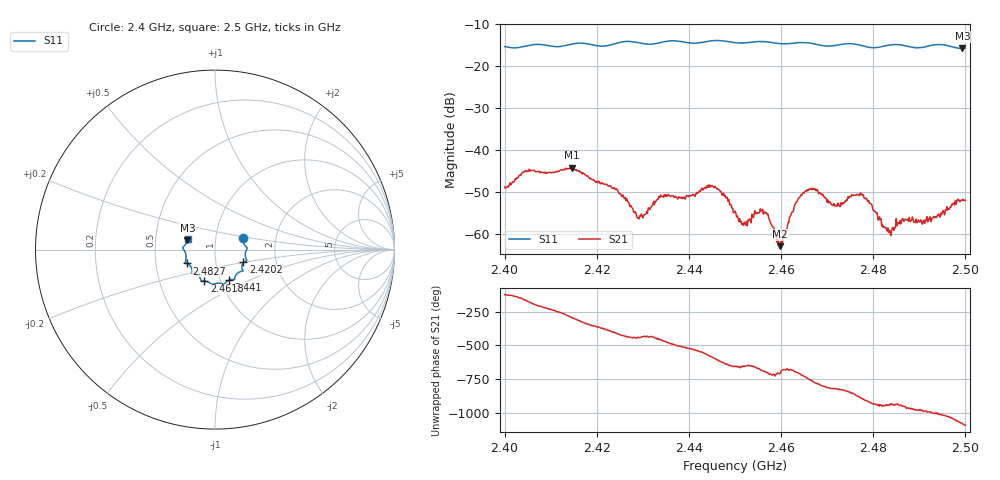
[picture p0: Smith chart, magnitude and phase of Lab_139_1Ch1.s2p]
# Hz S RI R 50
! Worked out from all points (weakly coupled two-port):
!   601 points, 2.4 GHz to 2.5 GHz, reference 50 ohm
!   highest |S21| = -44.27 dB at 2.4147 GHz (marker M1); lowest = -63.0 dB at 2.4598 GHz (marker M2)
!   lowest |S11| = -15.8 dB at 2.4993 GHz (marker M3), VSWR 1.39, Z = 36.5 + j3.83 ohm
!   |S11| at or under -10 dB: start of sweep to end of sweep
!   S12 and S22 are empty: the file has one direction only
!   S11 on the Smith chart (normalised r, x): 2.4 GHz: 1.36, +0.18; 2.4202 GHz: 1.36, -0.20; 2.441 GHz: 1.10, -0.39; 2.4618 GHz: 0.84, -0.30; 2.4827 GHz: 0.72, -0.12; 2.5 GHz: 0.73, +0.09
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2.4e9  0.1584 0.0629  -0.002 -0.00299  0 0  0 0
2.404833e9  0.1736 0.0148  -0.00549 -0.000942  0 0  0 0
2.414667e9  0.1746 -0.054  0.00243 0.00561  0 0  0 0
2.416667e9  0.1771 -0.0611  0.0044 0.00306  0 0  0 0
2.420167e9  0.1586 -0.0712  0.00401 -0.000339  0 0  0 0
2.424167e9  0.1517 -0.1078  0.00227 -0.00248  0 0  0 0
2.429e9  0.1458 -0.1213  0.000221 -0.00152  0 0  0 0
2.433333e9  0.1115 -0.1507  6.07e-05 -0.00257  0 0  0 0
2.441e9  0.0787 -0.1696  -0.00288 -0.000388  0 0  0 0
2.4455e9  0.051 -0.1942  -0.00198 0.0029  0 0  0 0
2.45e9  0.0286 -0.1875  0.000765 0.00169  0 0  0 0
2.452167e9  0.00656 -0.1883  0.000566 0.0012  0 0  0 0
2.456333e9  -0.0173 -0.1945  0.0016 0.000839  0 0  0 0
2.459833e9  -0.0395 -0.18  0.000686 0.000168  0 0  0 0
2.461833e9  -0.0588 -0.1754  0.00123 0.000956  0 0  0 0
2.466667e9  -0.0788 -0.1685  0.00257 -0.00232  0 0  0 0
2.471667e9  -0.1103 -0.1362  -0.000322 -0.00211  0 0  0 0
2.477333e9  -0.1269 -0.1217  -0.00286 -0.000521  0 0  0 0
2.482667e9  -0.1559 -0.0773  -0.000811 0.000822  0 0  0 0
2.483333e9  -0.1603 -0.0752  -0.000768 0.000676  0 0  0 0
2.499333e9  -0.1539 0.0512  0.00249 -3.02e-05  0 0  0 0
2.5e9  -0.1521 0.0605  0.00243 -0.00061  0 0  0 0
